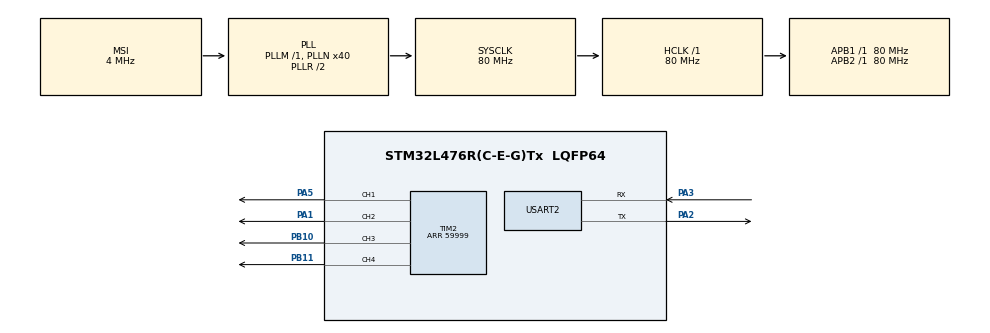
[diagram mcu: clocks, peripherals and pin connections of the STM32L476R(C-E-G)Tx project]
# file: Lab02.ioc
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Mcu.Family=STM32L4
Mcu.Name=STM32L476R(C-E-G)Tx
Mcu.Package=LQFP64
NVIC.PriorityGroup=NVIC_PRIORITYGROUP_4
NVIC.USART2_IRQn=true\:0\:0\:false\:false\:true\:true\:true\:true
PA1.Signal=S_TIM2_CH2
PA13\ (JTMS-SWDIO).Mode=Serial_Wire
PA13\ (JTMS-SWDIO).Signal=SYS_JTMS-SWDIO
PA14\ (JTCK-SWCLK).Mode=Serial_Wire
PA14\ (JTCK-SWCLK).Signal=SYS_JTCK-SWCLK
PA2.Mode=Asynchronous
PA2.Signal=USART2_TX
PA3.Mode=Asynchronous
PA3.Signal=USART2_RX
PA5.Signal=S_TIM2_CH1
PB10.Signal=S_TIM2_CH3
PB11.Signal=S_TIM2_CH4
PH0-OSC_IN\ (PH0).Mode=HSE-External-Oscillator
PH0-OSC_IN\ (PH0).Signal=RCC_OSC_IN
PH1-OSC_OUT\ (PH1).Mode=HSE-External-Oscillator
PH1-OSC_OUT\ (PH1).Signal=RCC_OSC_OUT
ProjectManager.HeapSize=0x200
ProjectManager.StackSize=0x400
ProjectManager.TargetToolchain=STM32CubeIDE
RCC.ADCFreq_Value=16000000
RCC.AHBFreq_Value=80000000
RCC.APB1Freq_Value=80000000
RCC.APB1TimFreq_Value=80000000
RCC.APB2Freq_Value=80000000
RCC.APB2TimFreq_Value=80000000
RCC.CortexFreq_Value=80000000
RCC.HCLKFreq_Value=80000000
RCC.HSE_VALUE=8000000
RCC.HSI_VALUE=16000000
RCC.LSE_VALUE=32768
RCC.MSI_VALUE=4000000
RCC.PLLN=40
RCC.SYSCLKFreq_VALUE=80000000
RCC.SYSCLKSource=RCC_SYSCLKSOURCE_PLLCLK
RCC.USBFreq_Value=16000000
RCC.VCOOutputFreq_Value=160000000
SH.S_TIM2_CH1.0=TIM2_CH1,PWM Generation1 CH1
SH.S_TIM2_CH2.0=TIM2_CH2,PWM Generation2 CH2
SH.S_TIM2_CH3.0=TIM2_CH3,PWM Generation3 CH3
SH.S_TIM2_CH4.0=TIM2_CH4,PWM Generation4 CH4
TIM2.AutoReloadPreload=TIM_AUTORELOAD_PRELOAD_ENABLE
TIM2.Channel-PWM\ Generation1\ CH1=TIM_CHANNEL_1
TIM2.Channel-PWM\ Generation2\ CH2=TIM_CHANNEL_2
TIM2.Channel-PWM\ Generation3\ CH3=TIM_CHANNEL_3
TIM2.Channel-PWM\ Generation4\ CH4=TIM_CHANNEL_4
TIM2.OCMode_PWM-PWM\ Generation1\ CH1=TIM_OCMODE_PWM1
TIM2.OCMode_PWM-PWM\ Generation2\ CH2=TIM_OCMODE_PWM1
TIM2.OCMode_PWM-PWM\ Generation3\ CH3=TIM_OCMODE_PWM1
TIM2.OCMode_PWM-PWM\ Generation4\ CH4=TIM_OCMODE_PWM1
TIM2.Period=59999
TIM2.Pulse-PWM\ Generation1\ CH1=0
TIM2.Pulse-PWM\ Generation2\ CH2=29999
TIM2.Pulse-PWM\ Generation3\ CH3=0
TIM2.Pulse-PWM\ Generation4\ CH4=29999
USART2.VirtualMode-Asynchronous=VM_ASYNC
board=custom

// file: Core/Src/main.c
/* USER CODE BEGIN Header */
/**
  ******************************************************************************
  * @file           main.c
  * @brief          Main program body for lab02
  * @details 		This main file sets up a motor driver *pseudo* object to
  * 				  drive **two** motors at once
  ******************************************************************************
  *
  *
  * Copyright (c) 2024 STMicroelectronics.
  * All rights reserved.
  *
  * This software is licensed under terms that can be found in the LICENSE file
  * in the root directory of this software component.
  * If no LICENSE file comes with this software, it is provided AS-IS.
  *
  ******************************************************************************
  */
/* USER CODE END Header */
#include "main.h"

/* USER CODE BEGIN Includes */
#include "motor.h"
/* USER CODE END Includes */

TIM_HandleTypeDef htim2;

UART_HandleTypeDef huart2;

void SystemClock_Config(void);
static void MX_GPIO_Init(void);
static void MX_TIM2_Init(void);
static void MX_USART2_UART_Init(void);

/* USER CODE BEGIN 0 */
char RxBuffer[5]; // Length of the command "Mnxy\r"
uint8_t RxIndex = 0;
volatile uint8_t CmdReceived = 0;
uint8_t data;
uint16_t xy;
int32_t duty = 50;
const char *confirm1 = "\r\nMotor 1 Command Received Successfully\r\n";
const char *confirm2 = "\r\nMotor 2 Command Received Successfully\r\n";
const char *reset = "Please Enter Motor Command in Format Mnxy[ENTER]\r\n";
/* USER CODE END 0 */

int main(void)
{

  /* MCU Configuration--------------------------------------------------------*/

  /* Reset of all peripherals, Initializes the Flash interface and the Systick. */
  HAL_Init();

  /* Configure the system clock */
  SystemClock_Config();

  /* Initialize all configured peripherals */
  MX_GPIO_Init();
  MX_TIM2_Init();
  MX_USART2_UART_Init();
  /* USER CODE BEGIN 2 */

  /// Start Timer 4 Ch1-4
  HAL_TIM_PWM_Start(&htim2, TIM_CHANNEL_1);
  HAL_TIM_PWM_Start(&htim2, TIM_CHANNEL_2);
  HAL_TIM_PWM_Start(&htim2, TIM_CHANNEL_3);
  HAL_TIM_PWM_Start(&htim2, TIM_CHANNEL_4);
  /// Create pointers to the condition code registers of the channels
  /// ~~~~~~~~~~~~~~~~~~~~~~~~~~~~~~~~~~~~~~~~~~.cpp
  /// uint32_t *pCCR1 = &(htim2.Instance->CCR1);
  /// ~~~~~~~~~~~~~~~~~~~~~~~~~~~~~~~~~~~~~~~~~~
  volatile uint32_t *pCCR1 = &(htim2.Instance->CCR1);
  volatile uint32_t *pCCR2 = &(htim2.Instance->CCR2);
  volatile uint32_t *pCCR3 = &(htim2.Instance->CCR3);
  volatile uint32_t *pCCR4 = &(htim2.Instance->CCR4);
  uint32_t Tim2Period = (htim2.Instance->ARR); //!< Grab the value of the period of Timer 2 for PWM calculations

  motor_t motor1 = {pCCR1, pCCR2, Tim2Period, duty}; //!<  Pass pointers to CCR registers to control motor and period value
  motor_t motor2 = {pCCR3, pCCR4, Tim2Period, duty};

  HAL_UART_Receive_IT(&huart2, &RxBuffer[RxIndex], 1);  // Start receiving one byte

  /* USER CODE END 2 */

  /* Infinite loop */
  /* USER CODE BEGIN WHILE */
  HAL_UART_Transmit_IT(&huart2, (uint8_t*)reset, strlen(reset));
  while (1)
  {
	  if (CmdReceived) {
		  if(RxBuffer[0] == 'M') { // motor command confirmed
			  char xy[3];
			  xy[0] = RxBuffer[2];
			  xy[1] = RxBuffer[3];
			  xy[2] = '\0';  // Null-terminate the string for strtol to know when to end
			  int duty = (int) strtol(xy, NULL, 16);
			  // Check if the value represents a negative number in two's complement
			  if (duty > 127) {
		        duty -= 256;  // Adjust to negative 8-bit integer
		      duty = duty*100/127;
		      }
			  if(RxBuffer[1] == '1') { //if we are talking motor 1
				  set_duty(&motor1, duty);
				  HAL_UART_Transmit_IT(&huart2, (uint8_t*)confirm1, strlen(confirm1));
				  }
			  else if(RxBuffer[1] == '2') { //if we are talking motor 2
				  set_duty(&motor2, duty);
				  HAL_UART_Transmit_IT(&huart2, (uint8_t*)confirm2, strlen(confirm2));
			  }
		  }
		  CmdReceived = 0; // Reset flag
		  memset(RxBuffer, 0, 5);  // Clear buffer

	  }

    /* USER CODE END WHILE */

  }
}

void SystemClock_Config(void)
{
  RCC_OscInitTypeDef RCC_OscInitStruct = {0};
  RCC_ClkInitTypeDef RCC_ClkInitStruct = {0};

  /** Configure the main internal regulator output voltage
  */
  if (HAL_PWREx_ControlVoltageScaling(PWR_REGULATOR_VOLTAGE_SCALE1) != HAL_OK)
  {
    Error_Handler();
  }

  /** Initializes the RCC Oscillators according to the specified parameters
  * in the RCC_OscInitTypeDef structure.
  */
  RCC_OscInitStruct.OscillatorType = RCC_OSCILLATORTYPE_MSI;
  RCC_OscInitStruct.MSIState = RCC_MSI_ON;
  RCC_OscInitStruct.MSICalibrationValue = 0;
  RCC_OscInitStruct.MSIClockRange = RCC_MSIRANGE_6;
  RCC_OscInitStruct.PLL.PLLState = RCC_PLL_ON;
  RCC_OscInitStruct.PLL.PLLSource = RCC_PLLSOURCE_MSI;
  RCC_OscInitStruct.PLL.PLLM = 1;
  RCC_OscInitStruct.PLL.PLLN = 40;
  RCC_OscInitStruct.PLL.PLLP = RCC_PLLP_DIV7;
  RCC_OscInitStruct.PLL.PLLQ = RCC_PLLQ_DIV2;
  RCC_OscInitStruct.PLL.PLLR = RCC_PLLR_DIV2;
  if (HAL_RCC_OscConfig(&RCC_OscInitStruct) != HAL_OK)
  {
    Error_Handler();
  }

  /** Initializes the CPU, AHB and APB buses clocks
  */
  RCC_ClkInitStruct.ClockType = RCC_CLOCKTYPE_HCLK|RCC_CLOCKTYPE_SYSCLK
                              |RCC_CLOCKTYPE_PCLK1|RCC_CLOCKTYPE_PCLK2;
  RCC_ClkInitStruct.SYSCLKSource = RCC_SYSCLKSOURCE_PLLCLK;
  RCC_ClkInitStruct.AHBCLKDivider = RCC_SYSCLK_DIV1;
  RCC_ClkInitStruct.APB1CLKDivider = RCC_HCLK_DIV1;
  RCC_ClkInitStruct.APB2CLKDivider = RCC_HCLK_DIV1;

  if (HAL_RCC_ClockConfig(&RCC_ClkInitStruct, FLASH_LATENCY_4) != HAL_OK)
  {
    Error_Handler();
  }
}

static void MX_TIM2_Init(void)
{

  TIM_MasterConfigTypeDef sMasterConfig = {0};
  TIM_OC_InitTypeDef sConfigOC = {0};

  htim2.Instance = TIM2;
  htim2.Init.Prescaler = 0;
  htim2.Init.CounterMode = TIM_COUNTERMODE_UP;
  htim2.Init.Period = 59999;
  htim2.Init.ClockDivision = TIM_CLOCKDIVISION_DIV1;
  htim2.Init.AutoReloadPreload = TIM_AUTORELOAD_PRELOAD_ENABLE;
  if (HAL_TIM_PWM_Init(&htim2) != HAL_OK)
  {
    Error_Handler();
  }
  sMasterConfig.MasterOutputTrigger = TIM_TRGO_RESET;
  sMasterConfig.MasterSlaveMode = TIM_MASTERSLAVEMODE_DISABLE;
  if (HAL_TIMEx_MasterConfigSynchronization(&htim2, &sMasterConfig) != HAL_OK)
  {
    Error_Handler();
  }
  sConfigOC.OCMode = TIM_OCMODE_PWM1;
  sConfigOC.Pulse = 0;
  sConfigOC.OCPolarity = TIM_OCPOLARITY_HIGH;
  sConfigOC.OCFastMode = TIM_OCFAST_DISABLE;
  if (HAL_TIM_PWM_ConfigChannel(&htim2, &sConfigOC, TIM_CHANNEL_1) != HAL_OK)
  {
    Error_Handler();
  }
  sConfigOC.Pulse = 29999;
  if (HAL_TIM_PWM_ConfigChannel(&htim2, &sConfigOC, TIM_CHANNEL_2) != HAL_OK)
  {
    Error_Handler();
  }
  sConfigOC.Pulse = 0;
  if (HAL_TIM_PWM_ConfigChannel(&htim2, &sConfigOC, TIM_CHANNEL_3) != HAL_OK)
  {
    Error_Handler();
  }
  sConfigOC.Pulse = 29999;
  if (HAL_TIM_PWM_ConfigChannel(&htim2, &sConfigOC, TIM_CHANNEL_4) != HAL_OK)
  {
    Error_Handler();
  }
  HAL_TIM_MspPostInit(&htim2);

}

static void MX_USART2_UART_Init(void)
{

  huart2.Instance = USART2;
  huart2.Init.BaudRate = 115200;
  huart2.Init.WordLength = UART_WORDLENGTH_8B;
  huart2.Init.StopBits = UART_STOPBITS_1;
  huart2.Init.Parity = UART_PARITY_NONE;
  huart2.Init.Mode = UART_MODE_TX_RX;
  huart2.Init.HwFlowCtl = UART_HWCONTROL_NONE;
  huart2.Init.OverSampling = UART_OVERSAMPLING_16;
  huart2.Init.OneBitSampling = UART_ONE_BIT_SAMPLE_DISABLE;
  huart2.AdvancedInit.AdvFeatureInit = UART_ADVFEATURE_NO_INIT;
  if (HAL_UART_Init(&huart2) != HAL_OK)
  {
    Error_Handler();
  }

}

static void MX_GPIO_Init(void)
{

  /* GPIO Ports Clock Enable */
  __HAL_RCC_GPIOH_CLK_ENABLE();
  __HAL_RCC_GPIOA_CLK_ENABLE();
  __HAL_RCC_GPIOB_CLK_ENABLE();

}

/* USER CODE BEGIN 4 */
void HAL_UART_RxCpltCallback(UART_HandleTypeDef *huart)
{
	if (CmdReceived == 0) {
		data = RxBuffer[RxIndex];
		HAL_UART_Transmit_IT(huart, &data, 1); // Echo back
		// Check if command has been completed
		if (data == '\r' && RxIndex == 4) {
			CmdReceived = 1; // Set flag to process in main loop once buffer is full
			RxIndex = 0;
		}
		else{
			RxIndex++;
		}

	}
	HAL_UART_Receive_IT(huart, (int32_t *)&RxBuffer[RxIndex], 1); //prep next interrupt
}
        /* USER CODE END 4 */

void Error_Handler(void)
{
  __disable_irq();
  while (1)
  {
  }
}
